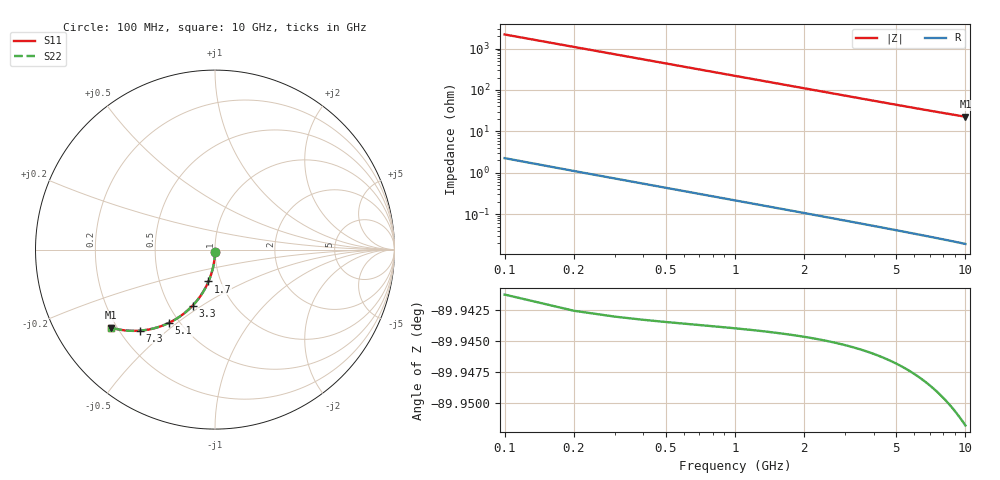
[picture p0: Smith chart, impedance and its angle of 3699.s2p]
# Hz S RI R 50.00
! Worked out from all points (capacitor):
!   100 points, 100 MHz to 10 GHz, reference 50 ohm
!   read as one part in shunt: C = 725 fF near 100 MHz
!   lowest |Z| = 22.6 ohm at 10 GHz (marker M1)
!   S11 on the Smith chart (normalised r, x): 100 MHz: 1.00, -0.02; 1.7 GHz: 0.87, -0.32; 3.3 GHz: 0.65, -0.46; 5.1 GHz: 0.44, -0.47; 7.3 GHz: 0.28, -0.41; 10 GHz: 0.18, -0.32
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1e8  -3.2e-05 -0.0108  0.9997 -0.0119  0.9997 -0.0119  -3.2e-05 -0.0108
2e8  -0.00043 -0.0217  0.9993 -0.0239  0.9993 -0.0239  -0.00043 -0.0217
3e8  -0.00109 -0.0325  0.9987 -0.0358  0.9987 -0.0358  -0.00109 -0.0325
4e8  -0.002 -0.0432  0.9978 -0.0477  0.9978 -0.0477  -0.002 -0.0432
5e8  -0.00317 -0.054  0.9966 -0.0595  0.9966 -0.0595  -0.00317 -0.054
6e8  -0.00459 -0.0647  0.9952 -0.0713  0.9952 -0.0713  -0.00459 -0.0647
8e8  -0.0082 -0.086  0.9915 -0.0948  0.9915 -0.0948  -0.0082 -0.086
9e8  -0.0104 -0.0965  0.9894 -0.1065  0.9894 -0.1065  -0.0104 -0.0965
1.1e9  -0.0155 -0.1173  0.9842 -0.1295  0.9842 -0.1295  -0.0155 -0.1173
1.4e9  -0.0248 -0.1479  0.9748 -0.1635  0.9748 -0.1635  -0.0248 -0.1479
1.7e9  -0.0363 -0.1775  0.9633 -0.1964  0.9633 -0.1964  -0.0363 -0.1775
1.8e9  -0.0405 -0.1871  0.9591 -0.2071  0.9591 -0.2071  -0.0405 -0.1871
2.1e9  -0.0544 -0.2152  0.9451 -0.2385  0.9451 -0.2385  -0.0544 -0.2152
2.5e9  -0.0755 -0.2504  0.9238 -0.2782  0.9238 -0.2782  -0.0755 -0.2504
3.3e9  -0.1251 -0.3125  0.874 -0.3493  0.874 -0.3493  -0.1251 -0.3125
3.4e9  -0.1319 -0.3194  0.8672 -0.3574  0.8672 -0.3574  -0.1319 -0.3194
4.2e9  -0.189 -0.368  0.8097 -0.4151  0.8097 -0.4151  -0.189 -0.368
5.1e9  -0.2569 -0.4082  0.7412 -0.4656  0.7412 -0.4656  -0.2569 -0.4082
6.7e9  -0.3764 -0.4463  0.6205 -0.5224  0.6205 -0.5224  -0.3764 -0.4463
7.3e9  -0.4185 -0.4515  0.5778 -0.5347  0.5778 -0.5347  -0.4185 -0.4515
8.4e9  -0.49 -0.4512  0.505 -0.5477  0.505 -0.5477  -0.49 -0.4512
1e10  -0.5796 -0.4344  0.4133 -0.5506  0.4133 -0.5506  -0.5796 -0.4344
